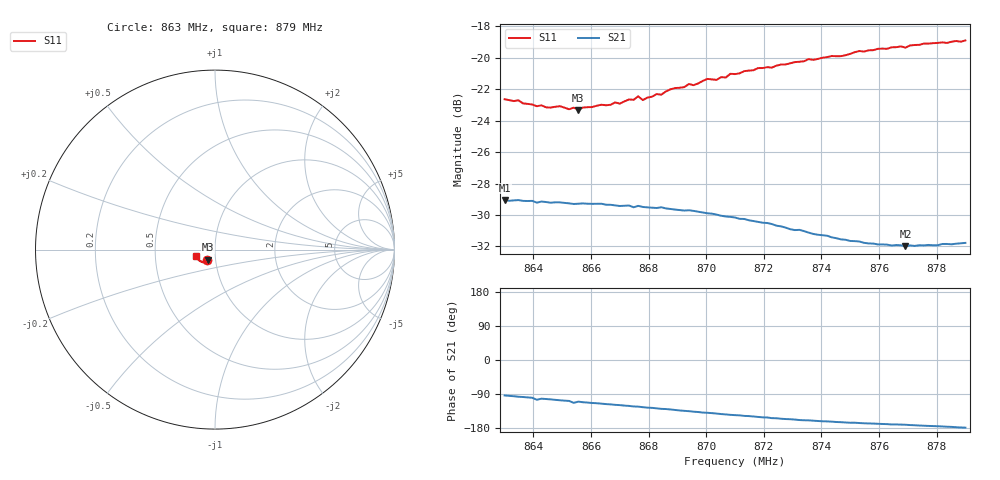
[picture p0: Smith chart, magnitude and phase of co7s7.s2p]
# HZ S RI R 50
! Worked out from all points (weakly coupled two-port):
!   101 points, 863 MHz to 879 MHz, reference 50 ohm
!   highest |S21| = -29.05 dB at 863 MHz (marker M1); lowest = -32.0 dB at 876.92 MHz (marker M2)
!   lowest |S11| = -23.3 dB at 865.56 MHz (marker M3), VSWR 1.15, Z = 46.1 - j5.28 ohm
!   |S11| at or under -10 dB: start of sweep to end of sweep
!   S12 and S22 are empty: the file has one direction only
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8.63e8  -0.0464 -0.0573  -0.00218 -0.0352  0 0  0 0
8.6348e8  -0.0451 -0.0576  -0.00423 -0.035  0 0  0 0
8.6412e8  -0.0421 -0.056  -0.00891 -0.0334  0 0  0 0
8.6492e8  -0.0411 -0.0568  -0.00973 -0.0333  0 0  0 0
8.6556e8  -0.0375 -0.057  -0.0117 -0.0323  0 0  0 0
8.6572e8  -0.0379 -0.0582  -0.0126 -0.032  0 0  0 0
8.67e8  -0.0373 -0.0609  -0.0164 -0.0295  0 0  0 0
8.6764e8  -0.0387 -0.0646  -0.0184 -0.0283  0 0  0 0
8.678e8  -0.037 -0.0633  -0.019 -0.0276  0 0  0 0
8.6828e8  -0.0393 -0.0658  -0.0203 -0.0264  0 0  0 0
8.6844e8  -0.0388 -0.0656  -0.021 -0.026  0 0  0 0
8.6876e8  -0.0414 -0.0677  -0.0215 -0.0251  0 0  0 0
8.694e8  -0.0433 -0.0702  -0.0232 -0.0231  0 0  0 0
8.6956e8  -0.0445 -0.0685  -0.0236 -0.0225  0 0  0 0
8.7004e8  -0.047 -0.0715  -0.0243 -0.0209  0 0  0 0
8.7036e8  -0.0473 -0.0706  -0.0248 -0.0198  0 0  0 0
8.71e8  -0.0525 -0.0715  -0.0256 -0.0176  0 0  0 0
8.7372e8  -0.0697 -0.0694  -0.0259 -0.00936  0 0  0 0
8.7644e8  -0.0909 -0.058  -0.0249 -0.00434  0 0  0 0
8.7692e8  -0.0928 -0.0545  -0.0249 -0.004  0 0  0 0
8.7756e8  -0.0995 -0.0488  -0.0252 -0.00289  0 0  0 0
8.79e8  -0.1071 -0.0372  -0.0258 -0.000644  0 0  0 0
